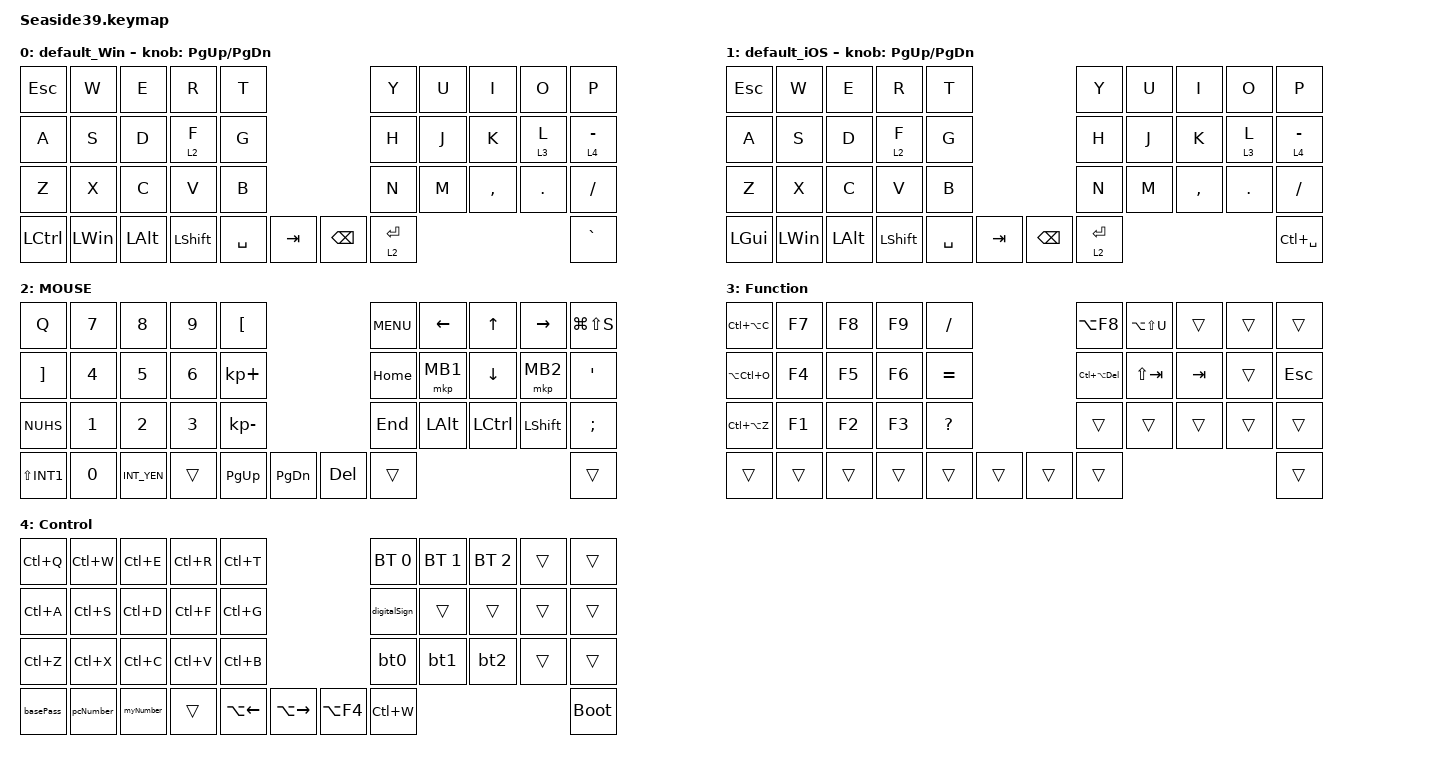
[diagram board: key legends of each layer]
#include <behaviors.dtsi>
#include <dt-bindings/zmk/bt.h>
#include <dt-bindings/zmk/keys.h>
#include <dt-bindings/zmk/pointing.h>

#define MOUSE 4
#define SCROLL 5
#define NUM 6

&mt {
    flavor = "balanced";
    quick-tap-ms = <300>;
};

&lt {
    flavor = "balanced";
    quick-tap-ms = <300>;
};

/ {
    combos { compatible = "zmk,combos"; };

    macros {
        basePass: to_layer_0 {
            compatible = "zmk,behavior-macro";
            #binding-cells = <0>;
            bindings = <&kp N2 &kp S &kp K &kp M &kp H &kp LS(B) &kp N3 &kp I &kp O &kp J &kp K &kp I>;
            label = "TO_LAYER_0";
        };

        pcNumber: pcNumber {
            compatible = "zmk,behavior-macro";
            #binding-cells = <0>;
            bindings = <&kp F &kp J &kp N0 &kp N5 &kp R &kp N3 &kp N6 &kp N0 &kp N6 &kp N6 &kp N5 &kp N5>;
            label = "PCNUMBER";
        };

        digitalSign: digitalSign {
            compatible = "zmk,behavior-macro";
            #binding-cells = <0>;
            bindings = <&kp LEFT_ALT &kp Y &kp N2 &kp Y &kp N1>;
            label = "DIGITALSIGN";
        };

        myNumber: myNumber {
            compatible = "zmk,behavior-macro";
            #binding-cells = <0>;
            bindings = <&kp N0 &kp N5 &kp N2 &kp N9 &kp N1 &kp N6>;
            label = "MYNUMBER";
        };

        bt0: bt0 {
            compatible = "zmk,behavior-macro";
            #binding-cells = <0>;
            bindings =
                <&tog_off 1>,
                <&macro_wait_time 200>,
                <&bt BT_SEL 0>,
                <&macro_wait_time 500>;

            label = "BT0";
        };

        bt1: bt1 {
            compatible = "zmk,behavior-macro";
            #binding-cells = <0>;
            bindings =
                <&tog_off 1>,
                <&macro_wait_time 200>,
                <&bt BT_SEL 1>,
                <&macro_wait_time 500>;

            label = "BT1";
        };

        bt2: bt2 {
            compatible = "zmk,behavior-macro";
            #binding-cells = <0>;
            bindings =
                <&tog_off 1>,
                <&macro_wait_time 200>,
                <&bt BT_SEL 2>,
                <&macro_wait_time 500>,
                <&tog_on 1>;

            label = "BT2";
        };
    };

    behaviors {
        lt_to_layer_0: lt_to_layer_0 {
            compatible = "zmk,behavior-hold-tap";
            label = "LAYER_TAP_TO_0";
            bindings = <&mo>, <&basePass>;

            #binding-cells = <2>;
            tapping-term-ms = <200>;
        };

        tog_on: toggle_layer_on_only {
            compatible = "zmk,behavior-toggle-layer";
            #binding-cells = <1>;
            display-name = "Toggle Layer On";
            toggle-mode = "on";
        };

        tog_off: toggle_layer_off_only {
            compatible = "zmk,behavior-toggle-layer";
            #binding-cells = <1>;
            display-name = "Toggle Layer Off";
            toggle-mode = "off";
        };
    };

    keymap {
        compatible = "zmk,keymap";

        default_Win {
            bindings = <
&kp ESCAPE  &kp W     &kp E         &kp R       &kp T                                  &kp Y        &kp U  &kp I      &kp O    &kp P
&kp A       &kp S     &kp D         &lt 2 F     &kp G                                  &kp H        &kp J  &kp K      &lt 3 L  &lt 4 MINUS
&kp Z       &kp X     &kp C         &kp V       &kp B                                  &kp N        &kp M  &kp COMMA  &kp DOT  &kp SLASH
&kp LCTRL   &kp LWIN  &kp LEFT_ALT  &kp LSHIFT  &kp SPACE  &kp TAB      &kp BACKSPACE  &lt 2 ENTER                             &kp GRAVE
            >;

            sensor-bindings = <&inc_dec_kp PG_UP PAGE_DOWN>;
        };

        default_iOS {
            bindings = <
&kp ESCAPE    &kp W     &kp E         &kp R       &kp T                                  &kp Y        &kp U  &kp I      &kp O    &kp P
&kp A         &kp S     &kp D         &lt 2 F     &kp G                                  &kp H        &kp J  &kp K      &lt 3 L  &lt 4 MINUS
&kp Z         &kp X     &kp C         &kp V       &kp B                                  &kp N        &kp M  &kp COMMA  &kp DOT  &kp SLASH
&kp LEFT_GUI  &kp LWIN  &kp LEFT_ALT  &kp LSHIFT  &kp SPACE  &kp TAB      &kp BACKSPACE  &lt 2 ENTER                             &kp LC(SPACE)
            >;

            sensor-bindings = <&inc_dec_kp PG_UP PAGE_DOWN>;
        };

        MOUSE {
            bindings = <
&kp Q              &kp N7  &kp N8       &kp N9  &kp LEFT_BRACKET                              &kp C_MENU  &kp LEFT_ARROW  &kp UP_ARROW    &kp RIGHT_ARROW  &kp LG(LS(S))
&kp RIGHT_BRACKET  &kp N4  &kp N5       &kp N6  &kp KP_PLUS                                   &kp HOME    &mkp MB1        &kp DOWN_ARROW  &mkp MB2         &kp SINGLE_QUOTE
&kp NUHS           &kp N1  &kp N2       &kp N3  &kp KP_MINUS                                  &kp END     &kp LALT        &kp LCTRL       &kp LSHFT        &kp SEMI
&kp LS(INT1)       &kp N0  &kp INT_YEN  &trans  &kp PAGE_UP       &kp PAGE_DOWN      &kp DEL  &trans                                                       &trans
            >;
        };

        Function {
            bindings = <
&kp LC(LA(C))  &kp F7  &kp F8  &kp F9  &kp FSLH                          &kp LA(F8)          &kp LA(LS(U))  &trans   &trans  &trans
&kp LA(LC(O))  &kp F4  &kp F5  &kp F6  &kp EQUAL                         &kp LC(LA(DELETE))  &kp LS(TAB)    &kp TAB  &trans  &kp ESC
&kp LC(LA(Z))  &kp F1  &kp F2  &kp F3  &kp QUESTION                      &trans              &trans         &trans   &trans  &trans
&trans         &trans  &trans  &trans  &trans        &trans      &trans  &trans                                              &trans
            >;
        };

        Control {
            bindings = <
&kp LC(Q)  &kp LC(W)  &kp LC(E)  &kp LC(R)  &kp LC(T)                                                &bt BT_SEL 0  &bt BT_SEL 1  &bt BT_SEL 2  &trans  &trans
&kp LC(A)  &kp LC(S)  &kp LC(D)  &kp LC(F)  &kp LC(G)                                                &digitalSign  &trans        &trans        &trans  &trans
&kp LC(Z)  &kp LC(X)  &kp LC(C)  &kp LC(V)  &kp LC(B)                                                &bt0          &bt1          &bt2          &trans  &trans
&basePass  &pcNumber  &myNumber  &trans     &kp LA(LEFT_ARROW)  &kp LA(RIGHT_ARROW)      &kp LA(F4)  &kp LC(W)                                         &bootloader
            >;
        };
    };
};
